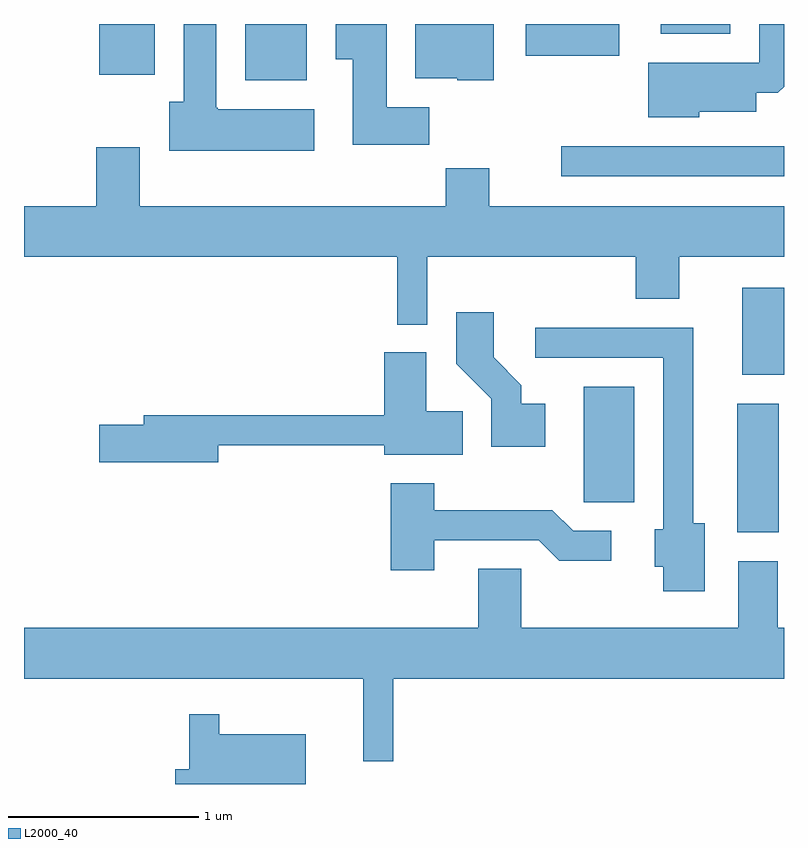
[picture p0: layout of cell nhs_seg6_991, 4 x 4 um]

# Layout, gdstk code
import gdstk
lib = gdstk.Library(unit=1e-6, precision=1e-09)
def R(c, l, rs):  # rectangles x0, y0, x1, y1
    for r in rs: c.add(gdstk.rectangle(r[:2], r[2:], *l))
def P(c, l, *ps):  # polygons
    for p in ps: c.add(gdstk.Polygon(p, *l))
L2000_40 = (2000, 40)

nhs_seg6_991 = lib.new_cell('nhs_seg6_991')
R(nhs_seg6_991, L2000_40, [(219.366,1537.486,219.584,1538.164), (218.556,1537.646,218.824,1538.254), (219.391,1538.316,219.611,1538.774), (218.438,1539.361,219.611,1539.519), (216.776,1539.866,217.099,1540.162), (216.006,1539.896,216.299,1540.162), (218.251,1539.996,218.744,1540.162), (218.961,1540.111,219.329,1540.162)])
P(nhs_seg6_991, L2000_40, [(218.084,1540.162),(217.671,1540.162),(217.671,1539.876),(217.89,1539.876),(217.89,1539.866),(218.084,1539.866)],
  [(217.744,1539.724),(217.519,1539.724),(217.519,1540.162),(217.251,1540.162),(217.251,1539.976),(217.341,1539.976),(217.341,1539.526),(217.744,1539.526)],
  [(219.164,1539.701),(219.464,1539.701),(219.464,1539.801),(219.579,1539.801),(219.611,1539.833),(219.611,1540.162),(219.481,1540.162),(219.481,1539.959),(218.896,1539.959),(218.896,1539.671),(219.164,1539.671)],
  [(217.139,1539.714),(216.63,1539.714),(216.63,1539.72),(216.624,1539.72),(216.624,1540.162),(216.451,1540.162),(216.451,1539.754),(216.376,1539.754),(216.376,1539.496),(217.139,1539.496)],
  [(217.734,1538.936),(218.831,1538.936),(218.831,1538.716),(219.059,1538.716),(219.059,1538.936),(219.611,1538.936),(219.611,1539.204),(218.059,1539.204),(218.059,1539.404),(217.831,1539.404),(217.831,1539.204),(216.219,1539.204),(216.219,1539.514),(215.991,1539.514),(215.991,1539.204),(215.611,1539.204),(215.611,1538.936),(217.576,1538.936),(217.576,1538.578),(217.734,1538.578)],
  [(218.354,1538.164),(218.229,1538.164),(218.229,1538.262),(218.084,1538.407),(218.084,1538.644),(217.886,1538.644),(217.886,1538.374),(218.071,1538.189),(218.071,1537.936),(218.354,1537.936)],
  [(219.194,1537.534),(219.134,1537.534),(219.134,1538.564),(218.303,1538.564),(218.303,1538.406),(218.976,1538.406),(218.976,1537.504),(218.931,1537.504),(218.931,1537.306),(218.976,1537.306),(218.976,1537.176),(219.194,1537.176)],
  [(216.634,1537.946),(217.506,1537.946),(217.506,1537.896),(217.919,1537.896),(217.919,1538.124),(217.729,1538.124),(217.729,1538.434),(217.506,1538.434),(217.506,1538.104),(216.241,1538.104),(216.241,1538.054),(216.006,1538.054),(216.006,1537.856),(216.634,1537.856)],
  [(217.769,1537.446),(218.319,1537.446),(218.429,1537.336),(218.703,1537.336),(218.703,1537.494),(218.502,1537.494),(218.392,1537.604),(217.769,1537.604),(217.769,1537.744),(217.541,1537.744),(217.541,1537.286),(217.769,1537.286)],
  [(217.554,1536.716),(219.611,1536.716),(219.611,1536.984),(219.579,1536.984),(219.579,1537.334),(219.371,1537.334),(219.371,1536.984),(218.229,1536.984),(218.229,1537.294),(218.001,1537.294),(218.001,1536.984),(215.611,1536.984),(215.611,1536.716),(217.396,1536.716),(217.396,1536.283),(217.554,1536.283)],
  [(217.094,1536.424),(216.639,1536.424),(216.639,1536.528),(216.481,1536.528),(216.481,1536.239),(216.406,1536.239),(216.406,1536.162),(217.094,1536.162)])

lib.write_gds('nhs_seg6_991.gds')
